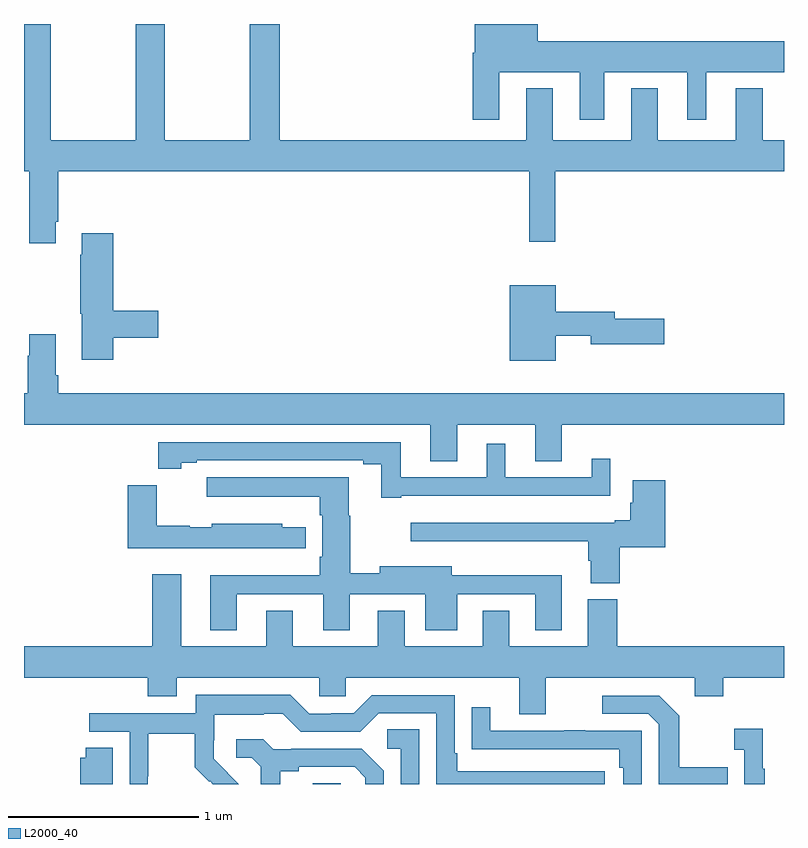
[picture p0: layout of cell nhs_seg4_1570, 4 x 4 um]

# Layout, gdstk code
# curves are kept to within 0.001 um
import gdstk
lib = gdstk.Library(unit=1e-6, precision=1e-09)
def R(c, l, rs):  # rectangles x0, y0, x1, y1
    for r in rs: c.add(gdstk.rectangle(r[:2], r[2:], *l))
def P(c, l, *ps):  # polygons
    for p in ps: c.add(gdstk.Polygon(p, *l))
L2000_40 = (2000, 40)

nhs_seg4_1570 = lib.new_cell('nhs_seg4_1570')
R(nhs_seg4_1570, L2000_40, [(192.521,822.9,192.666,822.905)])
P(nhs_seg4_1570, L2000_40, [(193.501,826.646),(193.925,826.646),(193.925,826.395),(194.053,826.395),(194.053,826.646),(194.492,826.646),(194.492,826.395),(194.59,826.395),(194.59,826.646),(195,826.646),(195,826.81),(193.705,826.81),(193.705,826.9),(193.373,826.9),(193.373,826.75),(193.361,826.75),(193.361,826.395),(193.501,826.395)],
  [(191.167,825.859),(191.18,825.859),(191.18,826.124),(193.66,826.124),(193.66,825.753),(193.796,825.753),(193.796,826.124),(195,826.124),(195,826.288),(194.887,826.288),(194.887,826.561),(194.747,826.561),(194.747,826.288),(194.335,826.288),(194.335,826.561),(194.195,826.561),(194.195,826.288),(193.783,826.288),(193.783,826.561),(193.643,826.561),(193.643,826.288),(192.347,826.288),(192.347,826.9),(192.187,826.9),(192.187,826.288),(191.742,826.288),(191.742,826.9),(191.587,826.9),(191.587,826.288),(191.142,826.288),(191.142,826.9),(191,826.9),(191,826.124),(191.027,826.124),(191.027,825.747),(191.167,825.747)],
  [(191.471,825.25),(191.707,825.25),(191.707,825.392),(191.471,825.392),(191.471,825.799),(191.303,825.799),(191.303,825.686),(191.296,825.686),(191.296,825.375),(191.303,825.375),(191.303,825.132),(191.471,825.132)],
  [(193.798,825.258),(193.982,825.258),(193.982,825.215),(194.371,825.215),(194.371,825.35),(194.11,825.35),(194.11,825.386),(193.798,825.386),(193.798,825.526),(193.556,825.526),(193.556,825.128),(193.798,825.128)],
  [(193.279,824.792),(193.691,824.792),(193.691,824.599),(193.831,824.599),(193.831,824.792),(195,824.792),(195,824.956),(191.18,824.956),(191.18,825.052),(191.167,825.052),(191.167,825.268),(191.027,825.268),(191.027,825.155),(191.02,825.155),(191.02,824.956),(191,824.956),(191,824.792),(193.139,824.792),(193.139,824.599),(193.279,824.599)],
  [(192.985,824.417),(194.085,824.417),(194.085,824.611),(193.988,824.611),(193.988,824.514),(193.534,824.514),(193.534,824.692),(193.436,824.692),(193.436,824.514),(192.982,824.514),(192.982,824.7),(191.706,824.7),(191.706,824.558),(191.827,824.558),(191.827,824.592),(191.908,824.592),(191.908,824.604),(192.785,824.604),(192.785,824.584),(192.881,824.584),(192.881,824.406),(192.985,824.406)],
  [(192.121,823.898),(192.575,823.898),(192.575,823.71),(192.715,823.71),(192.715,823.898),(193.112,823.898),(193.112,823.71),(193.279,823.71),(193.279,823.898),(193.691,823.898),(193.691,823.71),(193.831,823.71),(193.831,823.999),(193.252,823.999),(193.252,824.047),(192.872,824.047),(192.872,824.009),(192.717,824.009),(192.717,824.311),(192.709,824.311),(192.709,824.515),(191.961,824.515),(191.961,824.411),(192.557,824.411),(192.557,824.315),(192.569,824.315),(192.569,824.095),(192.557,824.095),(192.557,823.999),(191.981,823.999),(191.981,823.71),(192.121,823.71)],
  [(194.135,824.147),(194.375,824.147),(194.375,824.5),(194.204,824.5),(194.204,824.379),(194.192,824.379),(194.192,824.288),(194.108,824.288),(194.108,824.275),(193.035,824.275),(193.035,824.177),(193.97,824.177),(193.97,824.075),(193.982,824.075),(193.982,823.957),(194.135,823.957)],
  [(192.484,824.251),(192.36,824.251),(192.36,824.269),(191.988,824.269),(191.988,824.251),(191.873,824.251),(191.873,824.259),(191.698,824.259),(191.698,824.473),(191.546,824.473),(191.546,824.141),(192.484,824.141)],
  [(193.747,823.46),(194.531,823.46),(194.531,823.361),(194.679,823.361),(194.679,823.46),(195,823.46),(195,823.624),(194.123,823.624),(194.123,823.872),(193.967,823.872),(193.967,823.624),(193.555,823.624),(193.555,823.813),(193.415,823.813),(193.415,823.624),(193.003,823.624),(193.003,823.813),(192.863,823.813),(192.863,823.624),(192.415,823.624),(192.415,823.813),(192.275,823.813),(192.275,823.624),(191.827,823.624),(191.827,824.005),(191.675,824.005),(191.675,823.624),(191,823.624),(191,823.46),(191.651,823.46),(191.651,823.361),(191.803,823.361),(191.803,823.46),(192.555,823.46),(192.555,823.362),(192.693,823.362),(192.693,823.46),(193.607,823.46),(193.607,823.266),(193.747,823.266)],
  [(191.652,822.94),(191.655,822.94),(191.655,823.164),(191.899,823.164),(191.899,822.989),(191.976,822.912),(191.979,822.915),(191.994,822.9),(192.13,822.9),(191.998,823.034),(191.998,823.131),(192,823.131),(192,823.265),(192.263,823.265),(192.263,823.269),(192.363,823.269),(192.456,823.176),(192.771,823.176),(192.867,823.272),(193.17,823.272),(193.17,822.9),(194.056,822.9),(194.056,822.966),(193.279,822.966),(193.279,823.063),(193.266,823.063),(193.266,823.368),(192.831,823.368),(192.735,823.272),(192.617,823.272),(192.617,823.269),(192.501,823.269),(192.401,823.369),(191.904,823.369),(191.904,823.272),(191.343,823.272),(191.343,823.176),(191.556,823.176),(191.556,822.9),(191.652,822.9)],
  [(194.705,822.987),(194.449,822.987),(194.449,823.259),(194.343,823.365),(194.043,823.365),(194.043,823.269),(194.286,823.269),(194.34,823.215),(194.34,822.9),(194.705,822.9)],
  [(194.25,823.179),(193.955,823.179),(193.955,823.184),(193.843,823.184),(193.843,823.179),(193.453,823.179),(193.453,823.303),(193.357,823.303),(193.357,823.084),(193.459,823.084),(193.459,823.083),(194.134,823.083),(194.134,822.986),(194.154,822.986),(194.154,822.9),(194.25,822.9)],
  [(194.899,822.979),(194.887,822.979),(194.887,823.192),(194.739,823.192),(194.739,823.079),(194.79,823.079),(194.79,822.9),(194.899,822.9)],
  [(193.08,823.187),(192.912,823.187),(192.912,823.086),(192.984,823.086),(192.984,822.9),(193.08,822.9)],
  [(192.349,822.968),(192.445,822.968),(192.445,822.99),(192.74,822.99),(192.797,822.933),(192.797,822.9),(192.894,822.9),(192.894,822.97),(192.778,823.086),(192.406,823.086),(192.406,823.083),(192.312,823.083),(192.26,823.135),(192.117,823.135),(192.117,823.038),(192.198,823.038),(192.245,822.991),(192.245,822.9),(192.349,822.9)],
  [(191.467,823.091),(191.324,823.091),(191.324,823.038),(191.297,823.038),(191.297,822.9),(191.467,822.9)])

lib.write_gds('nhs_seg4_1570.gds')
